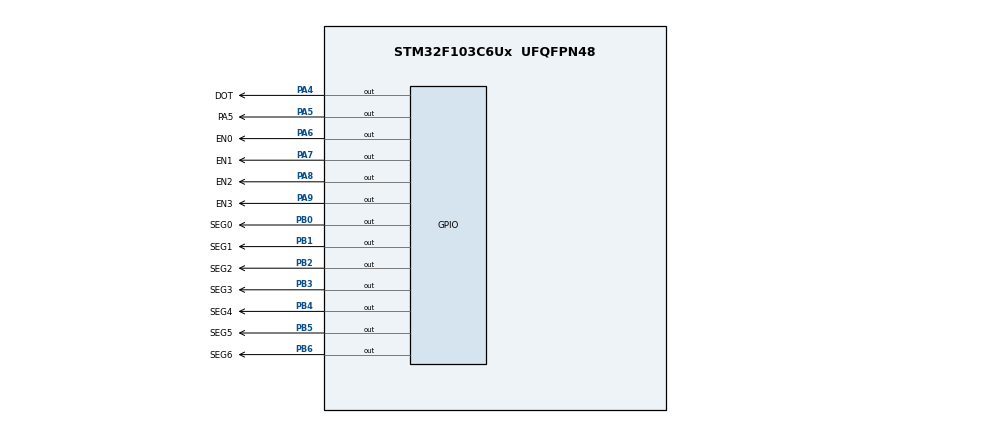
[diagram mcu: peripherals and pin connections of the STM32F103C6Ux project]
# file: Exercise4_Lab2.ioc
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Mcu.Family=STM32F1
Mcu.Name=STM32F103C6Ux
Mcu.Package=UFQFPN48
NVIC.PriorityGroup=NVIC_PRIORITYGROUP_4
NVIC.TIM2_IRQn=true\:0\:0\:false\:false\:true\:true\:true
PA4.GPIO_Label=DOT
PA4.Signal=GPIO_Output
PA5.GPIO_Label=PA5
PA5.Signal=GPIO_Output
PA6.GPIO_Label=EN0
PA6.Signal=GPIO_Output
PA7.GPIO_Label=EN1
PA7.Signal=GPIO_Output
PA8.GPIO_Label=EN2
PA8.Signal=GPIO_Output
PA9.GPIO_Label=EN3
PA9.Signal=GPIO_Output
PB0.GPIO_Label=SEG0
PB0.Signal=GPIO_Output
PB0.Stacked=true
PB1.GPIO_Label=SEG1
PB1.Signal=GPIO_Output
PB2.GPIO_Label=SEG2
PB2.Signal=GPIO_Output
PB3.GPIO_Label=SEG3
PB3.Signal=GPIO_Output
PB4.GPIO_Label=SEG4
PB4.Signal=GPIO_Output
PB5.GPIO_Label=SEG5
PB5.Signal=GPIO_Output
PB6.GPIO_Label=SEG6
PB6.Signal=GPIO_Output
ProjectManager.HeapSize=0x200
ProjectManager.StackSize=0x400
ProjectManager.TargetToolchain=STM32CubeIDE
RCC.APB1Freq_Value=8000000
RCC.APB2Freq_Value=8000000
TIM2.Period=10
TIM2.Prescaler=7999
VP_SYS_VS_ND.Mode=No_Debug
VP_TIM2_VS_ClockSourceINT.Mode=Internal
board=custom

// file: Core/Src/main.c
/* USER CODE BEGIN Header */
/**
  ******************************************************************************
  * @file           : main.c
  * @brief          : Main program body
  ******************************************************************************
  * @attention
  *
  * <h2><center>&copy; Copyright (c) 2022 STMicroelectronics.
  * All rights reserved.</center></h2>
  *
  * This software component is licensed by ST under BSD 3-Clause license,
  * the "License"; You may not use this file except in compliance with the
  * License. You may obtain a copy of the License at:
  *                        opensource.org/licenses/BSD-3-Clause
  *
  ******************************************************************************
  */
/* USER CODE END Header */
#include "main.h"

TIM_HandleTypeDef htim2;

void SystemClock_Config(void);
static void MX_GPIO_Init(void);
static void MX_TIM2_Init(void);

/* USER CODE BEGIN 0 */
void display7SEG(int num, GPIO_TypeDef* GPIOx, uint16_t start_index){
	__IO uint16_t temp;
	switch(num){
	case 0:
		temp = 0b1000000;
		break;
	case 1:
		temp = 0b1111001;
		break;
	case 2:
		temp = 0b0100100;
		break;
	case 3:
		temp = 0b0110000;
		break;
	case 4:
		temp = 0b0011001;
		break;
	case 5:
		temp = 0b0010010;
		break;
	case 6:
		temp = 0b0000010;
		break;
	case 7:
		temp = 0b1111000;
		break;
	case 8:
		temp = 0b0;
		break;
	case 9:
		temp = 0b0010000;
		break;
	default:
		temp = !0b0;
		break;
	}
	uint16_t bitmask = 0b1111111 << start_index ;
	GPIOx->ODR = (GPIOx->ODR & ~bitmask) | (temp << start_index);
}
/* USER CODE END 0 */

int main(void)
{

  /* MCU Configuration--------------------------------------------------------*/

  /* Reset of all peripherals, Initializes the Flash interface and the Systick. */
  HAL_Init();

  /* Configure the system clock */
  SystemClock_Config();

  /* Initialize all configured peripherals */
  MX_GPIO_Init();
  MX_TIM2_Init();
  /* USER CODE BEGIN 2 */
  HAL_TIM_Base_Start_IT(&htim2);
  /* USER CODE END 2 */

  /* Infinite loop */
  while (1)
  {

  }
}

void SystemClock_Config(void)
{
  RCC_OscInitTypeDef RCC_OscInitStruct = {0};
  RCC_ClkInitTypeDef RCC_ClkInitStruct = {0};

  /** Initializes the RCC Oscillators according to the specified parameters
  * in the RCC_OscInitTypeDef structure.
  */
  RCC_OscInitStruct.OscillatorType = RCC_OSCILLATORTYPE_HSI;
  RCC_OscInitStruct.HSIState = RCC_HSI_ON;
  RCC_OscInitStruct.HSICalibrationValue = RCC_HSICALIBRATION_DEFAULT;
  RCC_OscInitStruct.PLL.PLLState = RCC_PLL_NONE;
  if (HAL_RCC_OscConfig(&RCC_OscInitStruct) != HAL_OK)
  {
    Error_Handler();
  }
  /** Initializes the CPU, AHB and APB buses clocks
  */
  RCC_ClkInitStruct.ClockType = RCC_CLOCKTYPE_HCLK|RCC_CLOCKTYPE_SYSCLK
                              |RCC_CLOCKTYPE_PCLK1|RCC_CLOCKTYPE_PCLK2;
  RCC_ClkInitStruct.SYSCLKSource = RCC_SYSCLKSOURCE_HSI;
  RCC_ClkInitStruct.AHBCLKDivider = RCC_SYSCLK_DIV1;
  RCC_ClkInitStruct.APB1CLKDivider = RCC_HCLK_DIV1;
  RCC_ClkInitStruct.APB2CLKDivider = RCC_HCLK_DIV1;

  if (HAL_RCC_ClockConfig(&RCC_ClkInitStruct, FLASH_LATENCY_0) != HAL_OK)
  {
    Error_Handler();
  }
}

static void MX_TIM2_Init(void)
{

  TIM_ClockConfigTypeDef sClockSourceConfig = {0};
  TIM_MasterConfigTypeDef sMasterConfig = {0};

  htim2.Instance = TIM2;
  htim2.Init.Prescaler = 7999;
  htim2.Init.CounterMode = TIM_COUNTERMODE_UP;
  htim2.Init.Period = 10;
  htim2.Init.ClockDivision = TIM_CLOCKDIVISION_DIV1;
  htim2.Init.AutoReloadPreload = TIM_AUTORELOAD_PRELOAD_DISABLE;
  if (HAL_TIM_Base_Init(&htim2) != HAL_OK)
  {
    Error_Handler();
  }
  sClockSourceConfig.ClockSource = TIM_CLOCKSOURCE_INTERNAL;
  if (HAL_TIM_ConfigClockSource(&htim2, &sClockSourceConfig) != HAL_OK)
  {
    Error_Handler();
  }
  sMasterConfig.MasterOutputTrigger = TIM_TRGO_RESET;
  sMasterConfig.MasterSlaveMode = TIM_MASTERSLAVEMODE_DISABLE;
  if (HAL_TIMEx_MasterConfigSynchronization(&htim2, &sMasterConfig) != HAL_OK)
  {
    Error_Handler();
  }

}

static void MX_GPIO_Init(void)
{
  GPIO_InitTypeDef GPIO_InitStruct = {0};

  /* GPIO Ports Clock Enable */
  __HAL_RCC_GPIOA_CLK_ENABLE();
  __HAL_RCC_GPIOB_CLK_ENABLE();

  /*Configure GPIO pin Output Level */
  HAL_GPIO_WritePin(GPIOA, DOT_Pin|PA5_Pin|EN0_Pin|EN1_Pin
                          |EN2_Pin|EN3_Pin, GPIO_PIN_RESET);

  /*Configure GPIO pin Output Level */
  HAL_GPIO_WritePin(GPIOB, SEG0_Pin|SEG1_Pin|SEG2_Pin|SEG3_Pin
                          |SEG4_Pin|SEG5_Pin|SEG6_Pin, GPIO_PIN_RESET);

  /*Configure GPIO pins : DOT_Pin PA5_Pin EN0_Pin EN1_Pin
                           EN2_Pin EN3_Pin */
  GPIO_InitStruct.Pin = DOT_Pin|PA5_Pin|EN0_Pin|EN1_Pin
                          |EN2_Pin|EN3_Pin;
  GPIO_InitStruct.Mode = GPIO_MODE_OUTPUT_PP;
  GPIO_InitStruct.Pull = GPIO_NOPULL;
  GPIO_InitStruct.Speed = GPIO_SPEED_FREQ_LOW;
  HAL_GPIO_Init(GPIOA, &GPIO_InitStruct);

  /*Configure GPIO pins : SEG0_Pin SEG1_Pin SEG2_Pin SEG3_Pin
                           SEG4_Pin SEG5_Pin SEG6_Pin */
  GPIO_InitStruct.Pin = SEG0_Pin|SEG1_Pin|SEG2_Pin|SEG3_Pin
                          |SEG4_Pin|SEG5_Pin|SEG6_Pin;
  GPIO_InitStruct.Mode = GPIO_MODE_OUTPUT_PP;
  GPIO_InitStruct.Pull = GPIO_NOPULL;
  GPIO_InitStruct.Speed = GPIO_SPEED_FREQ_LOW;
  HAL_GPIO_Init(GPIOB, &GPIO_InitStruct);

}

/* USER CODE BEGIN 4 */
void EN(uint16_t num){
	uint16_t bitmask = 0b1111 << 6;
	GPIOA->ODR = (GPIOA->ODR & ~bitmask ) | (~(1 << num) << 6);

}
int index_led = 0;
int led_buffer[4] = {1,2,3,4};
void update7SEG(int index){
	switch(index){
	case 0:
		EN(0);
		break;
	case 1:
		EN(1);
		break;
	case 2:
		EN(2);
		break;
	case 3:
		EN(3);
		break;
	default:
		break;
	}
	display7SEG(led_buffer[index], GPIOB, 0);
}
int counter1 = 100;
int counter2 = 25;
void HAL_TIM_PeriodElapsedCallback (TIM_HandleTypeDef * htim){

	counter1--;
	if (counter1 == 0){
		counter1 = 100;
		HAL_GPIO_TogglePin(GPIOA, PA5_Pin);
		HAL_GPIO_TogglePin(GPIOA, DOT_Pin);
	}

	counter2--;
	if (counter2 == 0){
		counter2 = 25;
		update7SEG(index_led);
		index_led++;
	}
	if (index_led > 3)
		index_led = 0;
}
/* USER CODE END 4 */

void Error_Handler(void)
{
  __disable_irq();
  while (1)
  {
  }
}

/************************ (C) COPYRIGHT STMicroelectronics *****END OF FILE****/
